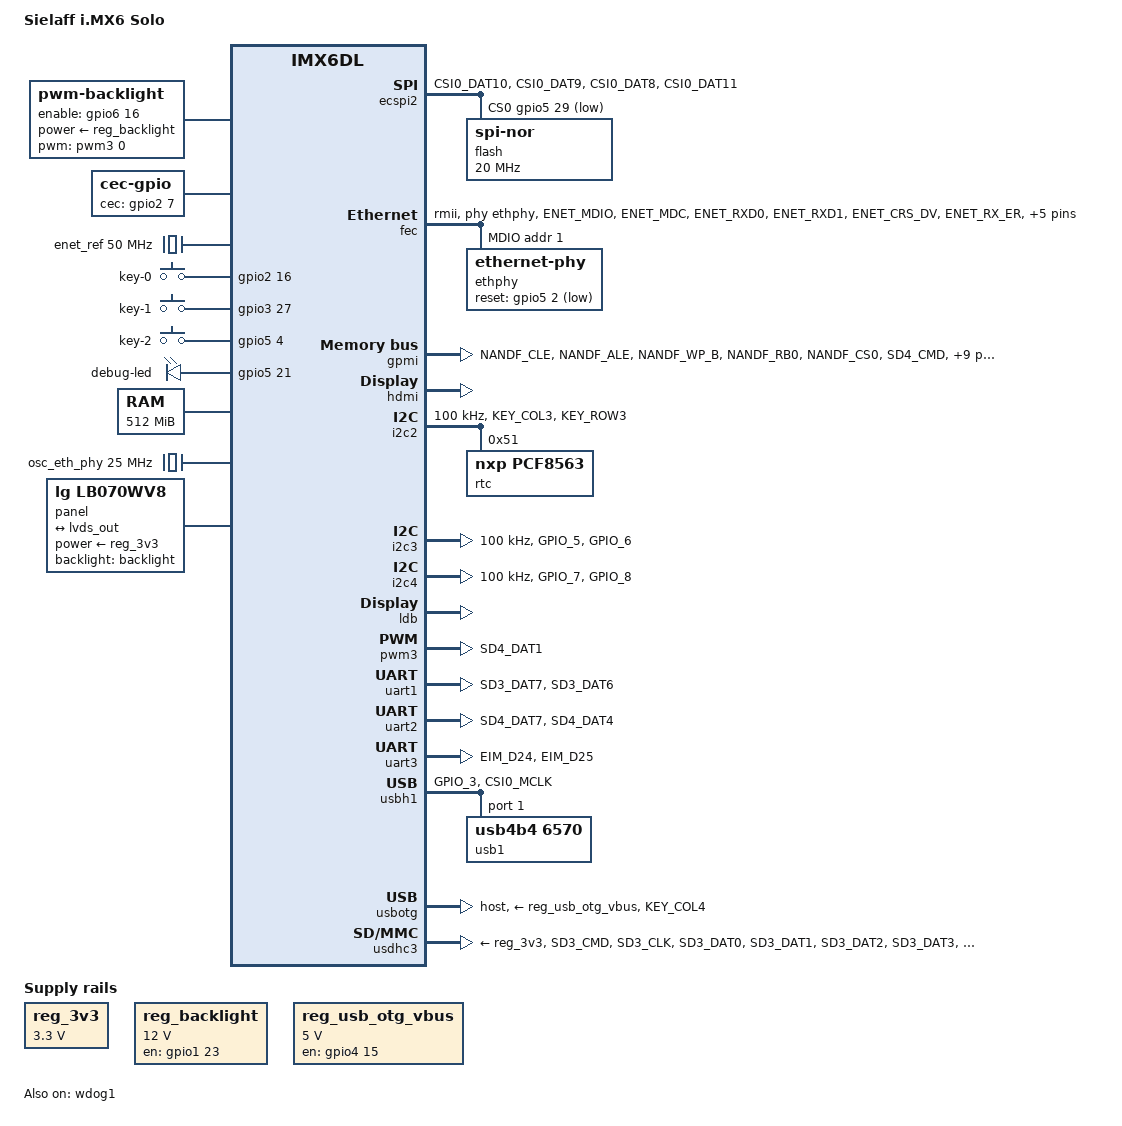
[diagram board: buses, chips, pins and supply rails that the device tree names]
// SPDX-License-Identifier: GPL-2.0+ OR MIT
/*
 * Copyright (C) 2022 Kontron Electronics GmbH
 */

/dts-v1/;

#include "imx6dl.dtsi"
#include <dt-bindings/clock/imx6qdl-clock.h>
#include <dt-bindings/gpio/gpio.h>
#include <dt-bindings/input/input.h>

/ {
	model = "Sielaff i.MX6 Solo";
	compatible = "sielaff,imx6dl-board", "fsl,imx6dl";

	chosen {
		stdout-path = &uart2;
	};

	backlight: pwm-backlight {
		compatible = "pwm-backlight";
		pinctrl-names = "default";
		pinctrl-0 = <&pinctrl_backlight>;
		pwms = <&pwm3 0 50000 0>;
		brightness-levels = <0 0 64 88 112 136 184 232 255>;
		default-brightness-level = <4>;
		enable-gpios = <&gpio6 16 GPIO_ACTIVE_HIGH>;
		power-supply = <&reg_backlight>;
	};

	cec {
		compatible = "cec-gpio";
		pinctrl-names = "default";
		pinctrl-0 = <&pinctrl_hdmi_cec>;
		cec-gpios = <&gpio2 7 GPIO_ACTIVE_HIGH>;
		hdmi-phandle = <&hdmi>;
	};

	enet_ref: clock-enet-ref {
		compatible = "fixed-clock";
		#clock-cells = <0>;
		clock-frequency = <50000000>;
		clock-output-names = "enet-ref";
	};

	gpio-keys {
		compatible = "gpio-keys";
		pinctrl-names = "default";
		pinctrl-0 = <&pinctrl_gpio_keys>;

		key-0 {
			gpios = <&gpio2 16 0>;
			debounce-interval = <10>;
			linux,code = <1>;
		};

		key-1 {
			gpios = <&gpio3 27 0>;
			debounce-interval = <10>;
			linux,code = <2>;
		};

		key-2 {
			gpios = <&gpio5 4 0>;
			debounce-interval = <10>;
			linux,code = <3>;
		};
	};

	leds {
		compatible = "gpio-leds";
		pinctrl-names = "default";
		pinctrl-0 = <&pinctrl_gpio_leds>;

		led-debug {
			label = "debug-led";
			gpios = <&gpio5 21 GPIO_ACTIVE_HIGH>;
			default-state = "off";
			linux,default-trigger = "heartbeat";
		};
	};

	memory@80000000 {
		reg = <0x80000000 0x20000000>;
		device_type = "memory";
	};

	osc_eth_phy: clock-osc-eth-phy {
		compatible = "fixed-clock";
		#clock-cells = <0>;
		clock-frequency = <25000000>;
		clock-output-names = "osc-eth-phy";
	};

	panel {
		compatible = "lg,lb070wv8";
		backlight = <&backlight>;
		power-supply = <&reg_3v3>;

		port {
			panel_in_lvds: endpoint {
				remote-endpoint = <&lvds_out>;
			};
		};
	};

	reg_3v3: regulator-3v3 {
		compatible = "regulator-fixed";
		regulator-name = "3v3";
		regulator-min-microvolt = <3300000>;
		regulator-max-microvolt = <3300000>;
	};

	reg_backlight: regulator-backlight {
		compatible = "regulator-fixed";
		pinctrl-names = "default";
		pinctrl-0 = <&pinctrl_reg_backlight>;
		enable-active-high;
		gpio = <&gpio1 23 GPIO_ACTIVE_HIGH>;
		regulator-name = "backlight";
		regulator-min-microvolt = <12000000>;
		regulator-max-microvolt = <12000000>;
	};

	reg_usb_otg_vbus: regulator-usb-otg-vbus {
		compatible = "regulator-fixed";
		pinctrl-names = "default";
		pinctrl-0 = <&pinctrl_reg_usbotg_vbus>;
		enable-active-high;
		gpio = <&gpio4 15 GPIO_ACTIVE_HIGH>;
		regulator-name = "usb_otg_vbus";
		regulator-min-microvolt = <5000000>;
		regulator-max-microvolt = <5000000>;
	};
};

&ecspi2 {
	pinctrl-names = "default";
	pinctrl-0 = <&pinctrl_ecspi2>;
	cs-gpios = <&gpio5 29 GPIO_ACTIVE_LOW>;
	status = "okay";

	flash@0 {
		compatible = "jedec,spi-nor";
		reg = <0>;
		spi-max-frequency = <20000000>;
	};
};

&fec {
	/*
	 * Set PTP clock to external instead of internal reference, as the
	 * REF_CLK from the PHY is fed back into the i.MX6 and the GPR
	 * register needs to be set accordingly (see mach-imx6q.c).
	 */
	clocks = <&clks IMX6QDL_CLK_ENET>,
		 <&clks IMX6QDL_CLK_ENET>,
		 <&enet_ref>,
		 <&clks IMX6QDL_CLK_ENET_REF>;
	clock-names = "ipg", "ahb", "ptp", "enet_out";
	pinctrl-names = "default";
	pinctrl-0 = <&pinctrl_enet>;
	phy-connection-type = "rmii";
	phy-handle = <&ethphy>;
	status = "okay";

	mdio {
		#address-cells = <1>;
		#size-cells = <0>;

		ethphy: ethernet-phy@1 {
			reg = <1>;
			clocks = <&osc_eth_phy>;
			clock-names = "rmii-ref";
			micrel,led-mode = <1>;
			reset-assert-us = <500>;
			reset-deassert-us = <100>;
			reset-gpios = <&gpio5 2 GPIO_ACTIVE_LOW>;
		};
	};
};

&gpio1 {
	gpio-line-names =
		"", "", "", "", "", "", "", "",
		"", "", "", "", "", "", "key-out", "key-in",
		"", "", "", "", "", "", "", "",
		"", "", "", "", "", "", "", "";
};

&gpio2 {
	gpio-line-names =
		"", "", "", "", "", "", "", "",
		"lan9500a-rst", "", "", "", "", "", "", "",
		"", "", "", "", "", "", "", "",
		"", "", "", "", "", "", "", "";
};

&gpmi {
	pinctrl-names = "default";
	pinctrl-0 = <&pinctrl_gpmi_nand>;
	status = "okay";
};

&hdmi {
	ddc-i2c-bus = <&i2c4>;
	status = "okay";
};

&i2c2 {
	pinctrl-names = "default";
	pinctrl-0 = <&pinctrl_i2c2>;
	clock-frequency = <100000>;
	status = "okay";

	rtc@51 {
		compatible = "nxp,pcf8563";
		reg = <0x51>;
	};
};

&i2c3 {
	pinctrl-names = "default";
	pinctrl-0 = <&pinctrl_i2c3>;
	clock-frequency = <100000>;
	status = "okay";

	touchscreen@55 {
		compatible = "sitronix,st1633";
		reg = <0x55>;
		pinctrl-names = "default";
		pinctrl-0 = <&pinctrl_touch>;
		interrupts = <18 IRQ_TYPE_EDGE_FALLING>;
		interrupt-parent = <&gpio5>;
		gpios = <&gpio1 2 GPIO_ACTIVE_LOW>;
		status = "disabled";
	};

	touchscreen@5d {
		compatible = "goodix,gt928";
		reg = <0x5d>;
		pinctrl-names = "default";
		pinctrl-0 = <&pinctrl_touch>;
		interrupts = <18 IRQ_TYPE_LEVEL_LOW>;
		interrupt-parent = <&gpio5>;
		irq-gpios = <&gpio5 18 GPIO_ACTIVE_HIGH>;
		reset-gpios = <&gpio1 2 GPIO_ACTIVE_HIGH>;
		status = "disabled";
	};
};

&i2c4 {
	pinctrl-names = "default";
	pinctrl-0 = <&pinctrl_i2c4>;
	clock-frequency = <100000>;
	status = "okay";
};

&ldb {
	status = "okay";

	lvds: lvds-channel@0 {
		fsl,data-mapping = "spwg";
		fsl,data-width = <24>;
		status = "okay";

		port@4 {
			reg = <4>;

			lvds_out: endpoint {
				remote-endpoint = <&panel_in_lvds>;
			};
		};
	};
};

&pwm3 {
	pinctrl-names = "default";
	pinctrl-0 = <&pinctrl_pwm3>;
	status = "okay";
};

&uart1 {
	pinctrl-names = "default";
	pinctrl-0 = <&pinctrl_uart1>;
	status = "okay";
};

&uart2 {
	pinctrl-names = "default";
	pinctrl-0 = <&pinctrl_uart2>;
	status = "okay";
};

&uart3 {
	pinctrl-names = "default";
	pinctrl-0 = <&pinctrl_uart3>;
	status = "okay";
};

&usbh1 {
	pinctrl-names = "default";
	pinctrl-0 = <&pinctrl_usbh1>;
	disable-over-current;
	status = "okay";

	#address-cells = <1>;
	#size-cells = <0>;

	usb1@1 {
		compatible = "usb4b4,6570";
		reg = <1>;
		clocks = <&clks IMX6QDL_CLK_CKO>;

		assigned-clocks = <&clks IMX6QDL_CLK_CKO>,
				  <&clks IMX6QDL_CLK_CKO2_SEL>;
		assigned-clock-parents = <&clks IMX6QDL_CLK_CKO2>,
					 <&clks IMX6QDL_CLK_OSC>;
		assigned-clock-rates = <12000000 0>;
	};
};

&usbotg {
	pinctrl-names = "default";
	pinctrl-0 = <&pinctrl_usbotg>;
	dr_mode = "host";
	over-current-active-low;
	vbus-supply = <&reg_usb_otg_vbus>;
	status = "okay";
};

&usdhc3 {
	pinctrl-names = "default";
	pinctrl-0 = <&pinctrl_usdhc3>;
	cd-gpios = <&gpio1 4 GPIO_ACTIVE_LOW>;
	vmmc-supply = <&reg_3v3>;
	voltage-ranges = <3300 3300>;
	no-1-8-v;
	status = "okay";
};

&wdog1 {
	pinctrl-names = "default";
	pinctrl-0 = <&pinctrl_wdog>;
	fsl,ext-reset-output;
	status = "okay";
};

&iomuxc {
	pinctrl-names = "default";
	pinctrl-0 = <&pinctrl_hog>;

	pinctrl_hog: hoggrp {
		fsl,pins = <
			MX6QDL_PAD_RGMII_RD0__GPIO6_IO25	0x1b0b0	/* PMIC_IRQ */
			MX6QDL_PAD_SD2_DAT3__GPIO1_IO12		0x1b0b0
			MX6QDL_PAD_SD2_DAT1__GPIO1_IO14		0x1b0b0
			MX6QDL_PAD_SD2_DAT0__GPIO1_IO15		0x1b0b0
			MX6QDL_PAD_SD4_DAT0__GPIO2_IO08		0x1b0b0
			MX6QDL_PAD_EIM_D29__GPIO3_IO29		0x1b0b0
		>;
	};

	pinctrl_backlight: backlightgrp {
		fsl,pins = <
			MX6QDL_PAD_NANDF_CS3__GPIO6_IO16	0x100b1
		>;
	};

	pinctrl_ecspi2: ecspi2grp {
		fsl,pins = <
			MX6QDL_PAD_CSI0_DAT10__ECSPI2_MISO	0x100b1
			MX6QDL_PAD_CSI0_DAT9__ECSPI2_MOSI	0x100b1
			MX6QDL_PAD_CSI0_DAT8__ECSPI2_SCLK	0x100b1
			MX6QDL_PAD_CSI0_DAT11__GPIO5_IO29	0x100b1
		>;
	};

	pinctrl_enet: enetgrp {
		fsl,pins = <
			MX6QDL_PAD_ENET_MDIO__ENET_MDIO		0x1b0b0
			MX6QDL_PAD_ENET_MDC__ENET_MDC		0x1b0b0
			MX6QDL_PAD_ENET_RXD0__ENET_RX_DATA0	0x1b0b0
			MX6QDL_PAD_ENET_RXD1__ENET_RX_DATA1	0x1b0b0
			MX6QDL_PAD_ENET_CRS_DV__ENET_RX_EN	0x1b0b0
			MX6QDL_PAD_ENET_RX_ER__ENET_RX_ER	0x1b0b0
			MX6QDL_PAD_ENET_TXD0__ENET_TX_DATA0	0x1b0b0
			MX6QDL_PAD_ENET_TXD1__ENET_TX_DATA1	0x1b0b0
			MX6QDL_PAD_ENET_TX_EN__ENET_TX_EN	0x1b0b0
			MX6QDL_PAD_GPIO_16__ENET_REF_CLK	0x4001b0a8
			MX6QDL_PAD_EIM_A25__GPIO5_IO02		0x100b1
		>;
	};

	pinctrl_gpio_keys: gpiokeysgrp {
		fsl,pins = <
			MX6QDL_PAD_EIM_A22__GPIO2_IO16		0x1b080
			MX6QDL_PAD_EIM_D27__GPIO3_IO27		0x1b080
			MX6QDL_PAD_EIM_A24__GPIO5_IO04		0x1b080
		>;
	};

	pinctrl_gpio_leds: gpioledsgrp {
		fsl,pins = <
			MX6QDL_PAD_CSI0_VSYNC__GPIO5_IO21	0x1b0b0
		>;
	};

	pinctrl_gpmi_nand: gpminandgrp {
		fsl,pins = <
			MX6QDL_PAD_NANDF_CLE__NAND_CLE		0xb0b1
			MX6QDL_PAD_NANDF_ALE__NAND_ALE		0xb0b1
			MX6QDL_PAD_NANDF_WP_B__NAND_WP_B	0xb0b1
			MX6QDL_PAD_NANDF_RB0__NAND_READY_B	0xb000
			MX6QDL_PAD_NANDF_CS0__NAND_CE0_B	0xb0b1
			MX6QDL_PAD_SD4_CMD__NAND_RE_B		0xb0b1
			MX6QDL_PAD_SD4_CLK__NAND_WE_B		0xb0b1
			MX6QDL_PAD_NANDF_D0__NAND_DATA00	0xb0b1
			MX6QDL_PAD_NANDF_D1__NAND_DATA01	0xb0b1
			MX6QDL_PAD_NANDF_D2__NAND_DATA02	0xb0b1
			MX6QDL_PAD_NANDF_D3__NAND_DATA03	0xb0b1
			MX6QDL_PAD_NANDF_D4__NAND_DATA04	0xb0b1
			MX6QDL_PAD_NANDF_D5__NAND_DATA05	0xb0b1
			MX6QDL_PAD_NANDF_D6__NAND_DATA06	0xb0b1
			MX6QDL_PAD_NANDF_D7__NAND_DATA07	0xb0b1
		>;
	};

	pinctrl_hdmi_cec: hdmicecgrp {
		fsl,pins = <
			MX6QDL_PAD_EIM_A21__GPIO2_IO17		0x1b8b1
		>;
	};

	pinctrl_i2c2: i2c2grp {
		fsl,pins = <
			MX6QDL_PAD_KEY_COL3__I2C2_SCL		0x4001b8b1
			MX6QDL_PAD_KEY_ROW3__I2C2_SDA		0x4001b8b1
		>;
	};

	pinctrl_i2c3: i2c3grp {
		fsl,pins = <
			MX6QDL_PAD_GPIO_5__I2C3_SCL		0x4001f8b1
			MX6QDL_PAD_GPIO_6__I2C3_SDA		0x4001f8b1
		>;
	};

	pinctrl_i2c4: i2c4grp {
		fsl,pins = <
			MX6QDL_PAD_GPIO_7__I2C4_SCL		0x4001b8b1
			MX6QDL_PAD_GPIO_8__I2C4_SDA		0x4001b8b1
		>;
	};

	pinctrl_pwm3: pwm3grp {
		fsl,pins = <
			MX6QDL_PAD_SD4_DAT1__PWM3_OUT		0x1b0b1
		>;
	};

	pinctrl_reg_backlight: regbacklightgrp {
		fsl,pins = <
			MX6QDL_PAD_ENET_REF_CLK__GPIO1_IO23	0x1b0b1
		>;
	};

	pinctrl_reg_usbotg_vbus: regusbotgvbusgrp {
		fsl,pins = <
			MX6QDL_PAD_KEY_ROW4__GPIO4_IO15		0x1b0b1
		>;
	};

	pinctrl_touch: touchgrp {
		fsl,pins = <
			MX6QDL_PAD_GPIO_2__GPIO1_IO02		0x1b0b0
			MX6QDL_PAD_CSI0_PIXCLK__GPIO5_IO18	0x1b0b0
		>;
	};

	pinctrl_uart1: uart1grp {
		fsl,pins = <
			MX6QDL_PAD_SD3_DAT7__UART1_TX_DATA 	0x1b0b1
			MX6QDL_PAD_SD3_DAT6__UART1_RX_DATA 	0x1b0b1
		>;
	};

	pinctrl_uart2: uart2grp {
		fsl,pins = <
			MX6QDL_PAD_SD4_DAT7__UART2_TX_DATA	0x1b0b1
			MX6QDL_PAD_SD4_DAT4__UART2_RX_DATA	0x1b0b1
		>;
	};

	pinctrl_uart3: uart3grp {
		fsl,pins = <
			MX6QDL_PAD_EIM_D24__UART3_TX_DATA	0x1b0b0
			MX6QDL_PAD_EIM_D25__UART3_RX_DATA	0x1b0b0
		>;
	};

	pinctrl_usbh1: usbh1grp {
		fsl,pins = <
			MX6QDL_PAD_GPIO_3__USB_H1_OC		0x1b0b1
			MX6QDL_PAD_CSI0_MCLK__CCM_CLKO1		0x1b0b0
		>;
	};

	pinctrl_usbotg: usbotggrp {
		fsl,pins = <
			MX6QDL_PAD_KEY_COL4__USB_OTG_OC		0x1b0b1
		>;
	};

	pinctrl_usdhc3: usdhc3grp {
		fsl,pins = <
			MX6QDL_PAD_SD3_CMD__SD3_CMD		0x17059
			MX6QDL_PAD_SD3_CLK__SD3_CLK		0x10059
			MX6QDL_PAD_SD3_DAT0__SD3_DATA0		0x17059
			MX6QDL_PAD_SD3_DAT1__SD3_DATA1		0x17059
			MX6QDL_PAD_SD3_DAT2__SD3_DATA2		0x17059
			MX6QDL_PAD_SD3_DAT3__SD3_DATA3		0x17059
			MX6QDL_PAD_GPIO_4__GPIO1_IO04		0x100b1
		>;
	};

	pinctrl_wdog: wdoggrp {
		fsl,pins = <
			MX6QDL_PAD_GPIO_9__WDOG1_B		0x1b0b0
		>;
	};
};
